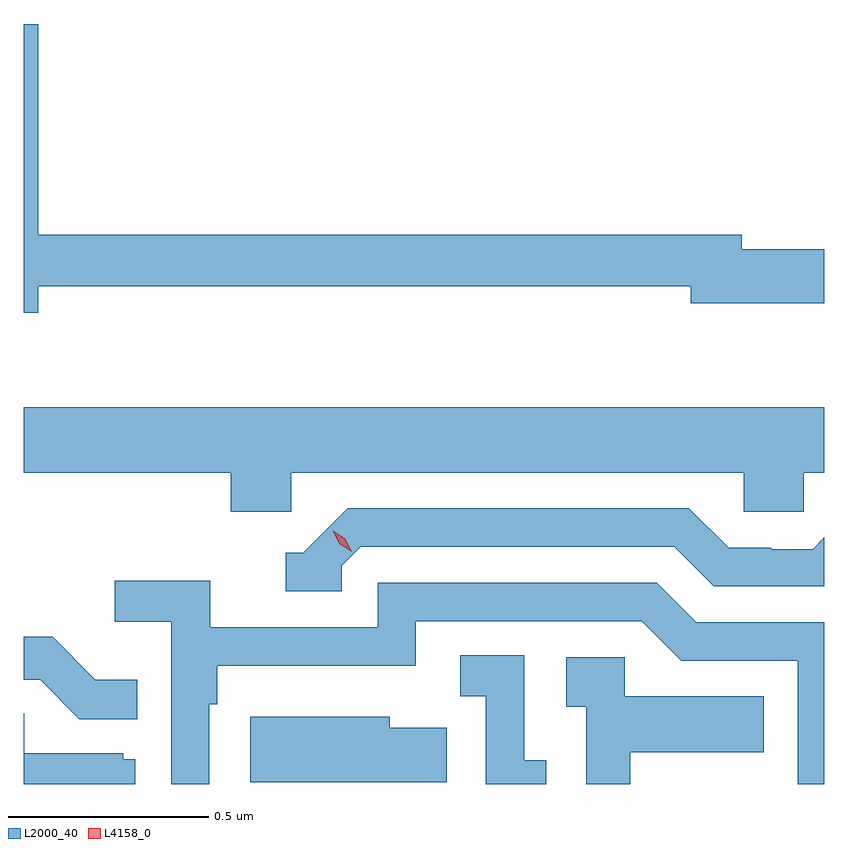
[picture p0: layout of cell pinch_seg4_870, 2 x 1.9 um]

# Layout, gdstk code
import gdstk
lib = gdstk.Library(unit=1e-6, precision=1e-09)
def P(c, l, *ps):  # polygons
    for p in ps: c.add(gdstk.Polygon(p, *l))
L2000_40 = (2000, 40)
L4158_0 = (4158, 0)

pinch_seg4_870 = lib.new_cell('pinch_seg4_870')
P(pinch_seg4_870, L2000_40, [(866.566,791.958),(868.196,791.958),(868.196,791.915),(868.53,791.915),(868.53,792.05),(868.324,792.05),(868.324,792.086),(866.566,792.086),(866.566,792.613),(866.53,792.613),(866.53,791.892),(866.566,791.892)],
  [(867.198,791.492),(868.329,791.492),(868.329,791.394),(868.479,791.394),(868.479,791.492),(868.53,791.492),(868.53,791.656),(866.53,791.656),(866.53,791.492),(867.047,791.492),(867.047,791.394),(867.198,791.394)],
  [(867.324,791.259),(867.372,791.307),(868.155,791.307),(868.254,791.208),(868.53,791.208),(868.53,791.331),(868.501,791.301),(868.398,791.301),(868.398,791.304),(868.291,791.304),(868.192,791.403),(867.339,791.403),(867.228,791.292),(867.185,791.292),(867.185,791.196),(867.324,791.196)],
  [(866.994,790.913),(867.014,790.913),(867.014,791.01),(867.51,791.01),(867.51,791.121),(868.074,791.121),(868.173,791.022),(868.464,791.022),(868.464,790.714),(868.53,790.714),(868.53,791.118),(868.21,791.118),(868.111,791.217),(867.414,791.217),(867.414,791.106),(866.996,791.106),(866.996,791.222),(866.757,791.222),(866.757,791.12),(866.898,791.12),(866.898,790.714),(866.994,790.714)],
  [(866.813,790.975),(866.709,790.975),(866.602,791.082),(866.53,791.082),(866.53,790.974),(866.571,790.974),(866.669,790.876),(866.813,790.876)],
  [(867.835,790.773),(867.78,790.773),(867.78,791.036),(867.621,791.036),(867.621,790.933),(867.684,790.933),(867.684,790.714),(867.835,790.714)],
  [(868.045,790.793),(868.379,790.793),(868.379,790.933),(868.032,790.933),(868.032,791.031),(867.885,791.031),(867.885,790.907),(867.936,790.907),(867.936,790.714),(868.045,790.714)],
  [(866.809,790.776),(866.778,790.776),(866.778,790.791),(866.531,790.791),(866.531,790.889),(866.53,790.889),(866.53,790.714),(866.809,790.714)],
  [(867.587,790.855),(867.444,790.855),(867.444,790.882),(867.096,790.882),(867.096,790.718),(867.587,790.718)])
P(pinch_seg4_870, L4158_0, [(867.349,791.294),(867.318,791.314),(867.303,791.346),(867.303,791.347),(867.303,791.347),(867.333,791.327),(867.349,791.294),(867.349,791.294)])

lib.write_gds('pinch_seg4_870.gds')
